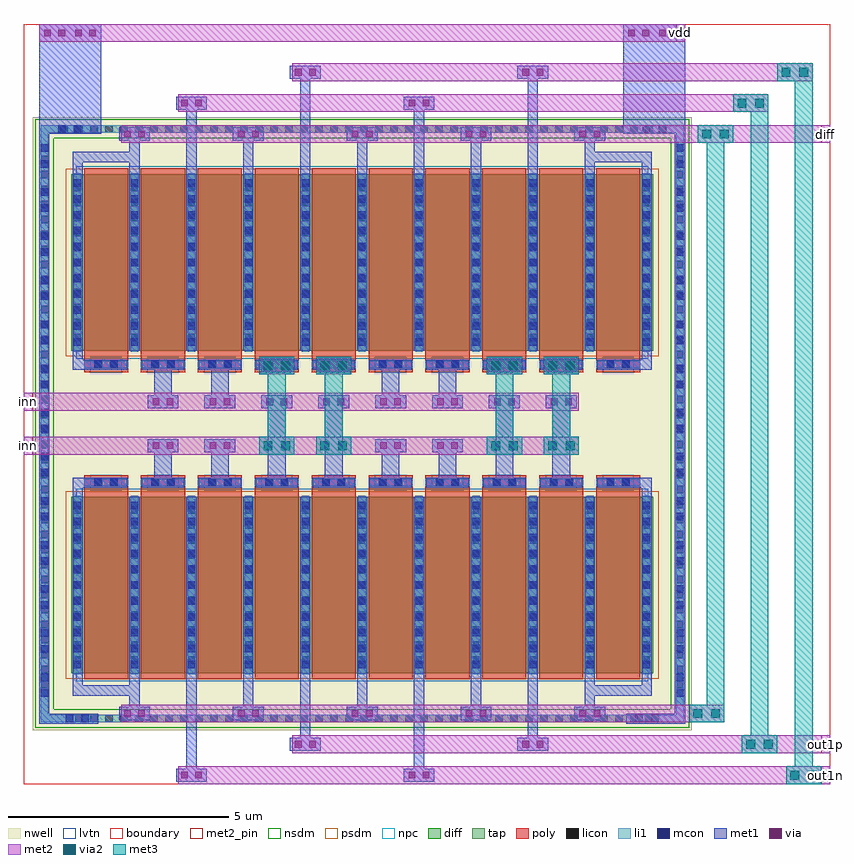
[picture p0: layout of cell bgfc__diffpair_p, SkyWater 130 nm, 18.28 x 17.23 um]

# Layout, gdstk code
from math import pi, radians
import gdstk
lib = gdstk.Library(unit=1e-6, precision=1e-09)
def R(c, l, rs):  # rectangles x0, y0, x1, y1
    for r in rs: c.add(gdstk.rectangle(r[:2], r[2:], *l))
def A(c, l, x, y, w, h, nx, ny, dx, dy):  # array of equal rectangles
    R(c, l, [(x+i*dx, y+j*dy, x+i*dx+w, y+j*dy+h) for i in range(nx) for j in range(ny)])
nwell = (64, 20)
diff = (65, 20)
tap = (65, 44)
poly = (66, 20)
licon = (66, 44)
li1 = (67, 20)
mcon = (67, 44)
met1 = (68, 20)
via = (68, 44)
met2_pin = (69, 16)
met2 = (69, 20)
via2 = (69, 44)
met3 = (70, 20)
nsdm = (93, 44)
psdm = (94, 20)
npc = (95, 20)
lvtn = (125, 44)
boundary = (235, 4)

via__li_m1 = lib.new_cell('via__LI_M1')
R(via__li_m1, li1, [(0.03,0.03,0.56,0.2)])
R(via__li_m1, mcon, [(0.03,0.03,0.2,0.2), (0.39,0.03,0.56,0.2)])
R(via__li_m1, met1, [(0,0,0.59,0.23)])

bgfcdpp__dum = lib.new_cell('bgfcdpp__DUM')
R(bgfcdpp__dum, nwell, [(-0.97,-2.49,0.97,2.32)])
R(bgfcdpp__dum, diff, [(-0.79,-2.18,0.79,1.82)])
R(bgfcdpp__dum, poly, [(-0.5,-2.31,0.5,2.305)])
A(bgfcdpp__dum, licon, -0.73, -1.965, 0.17, 0.17, 1, 11, 0, 0.34)
A(bgfcdpp__dum, licon, 0.56, -1.965, 0.17, 0.17, 1, 11, 0, 0.34)
R(bgfcdpp__dum, licon, [(-0.255,2.055,-0.085,2.225), (0.085,2.055,0.255,2.225)])
R(bgfcdpp__dum, li1, [(-0.73,-2.2,-0.56,1.84), (0.56,-2.2,0.73,1.84), (-0.5,2.055,0.5,2.225)])
A(bgfcdpp__dum, mcon, -0.73, -2.065, 0.17, 0.17, 1, 11, 0, 0.36)
A(bgfcdpp__dum, mcon, 0.56, -2.065, 0.17, 0.17, 1, 11, 0, 0.36)
R(bgfcdpp__dum, mcon, [(-0.265,2.055,-0.095,2.225), (0.095,2.055,0.265,2.225)])
R(bgfcdpp__dum, met1, [(-0.76,-2.18,-0.53,1.82), (0.53,-2.18,0.76,1.82), (-0.48,2.025,0.48,2.255)])
R(bgfcdpp__dum, psdm, [(-0.915,-2.305,0.915,1.945)])
R(bgfcdpp__dum, npc, [(-0.355,1.955,0.355,2.325)])
R(bgfcdpp__dum, lvtn, [(-0.68,-2.36,0.68,2)])

bgfcdpp__m2 = lib.new_cell('bgfcdpp__M2')
R(bgfcdpp__m2, nwell, [(-0.97,-2.49,0.97,2.32)])
R(bgfcdpp__m2, diff, [(-0.79,-2.18,0.79,1.82)])
R(bgfcdpp__m2, poly, [(-0.5,-2.31,0.5,2.305)])
A(bgfcdpp__m2, licon, -0.73, -1.965, 0.17, 0.17, 1, 11, 0, 0.34)
A(bgfcdpp__m2, licon, 0.56, -1.965, 0.17, 0.17, 1, 11, 0, 0.34)
R(bgfcdpp__m2, licon, [(-0.255,2.055,-0.085,2.225), (0.085,2.055,0.255,2.225)])
R(bgfcdpp__m2, li1, [(-0.73,-2.2,-0.56,1.84), (0.56,-2.2,0.73,1.84), (-0.5,2.055,0.5,2.225)])
A(bgfcdpp__m2, mcon, -0.73, -2.065, 0.17, 0.17, 1, 11, 0, 0.36)
A(bgfcdpp__m2, mcon, 0.56, -2.065, 0.17, 0.17, 1, 11, 0, 0.36)
R(bgfcdpp__m2, mcon, [(-0.265,2.055,-0.095,2.225), (0.095,2.055,0.265,2.225)])
R(bgfcdpp__m2, met1, [(-0.76,-2.18,-0.53,1.82), (0.53,-2.18,0.76,1.82), (-0.48,2.025,0.48,2.255)])
R(bgfcdpp__m2, psdm, [(-0.915,-2.305,0.915,1.945)])
R(bgfcdpp__m2, npc, [(-0.355,1.955,0.355,2.325)])
R(bgfcdpp__m2, lvtn, [(-0.68,-2.36,0.68,2)])

via__m1_m2 = lib.new_cell('via__M1_M2')
R(via__m1_m2, met1, [(0,0.05,0.7,0.35)])
R(via__m1_m2, via, [(0.115,0.125,0.265,0.275), (0.435,0.125,0.585,0.275)])
R(via__m1_m2, met2, [(0.05,0,0.65,0.4)])

via__m2_m3 = lib.new_cell('via__M2_M3')
R(via__m2_m3, met2, [(0,0,0.8,0.4)])
R(via__m2_m3, via2, [(0.1,0.1,0.3,0.3), (0.5,0.1,0.7,0.3)])
R(via__m2_m3, met3, [(0,0,0.8,0.4)])

bgfcdpp__m3 = lib.new_cell('bgfcdpp__M3')
R(bgfcdpp__m3, nwell, [(-0.97,-2.49,0.97,2.32)])
R(bgfcdpp__m3, diff, [(-0.79,-2.18,0.79,1.82)])
R(bgfcdpp__m3, poly, [(-0.5,-2.31,0.5,2.305)])
A(bgfcdpp__m3, licon, -0.73, -1.965, 0.17, 0.17, 1, 11, 0, 0.34)
A(bgfcdpp__m3, licon, 0.56, -1.965, 0.17, 0.17, 1, 11, 0, 0.34)
R(bgfcdpp__m3, licon, [(-0.255,2.055,-0.085,2.225), (0.085,2.055,0.255,2.225)])
R(bgfcdpp__m3, li1, [(-0.73,-2.2,-0.56,1.84), (0.56,-2.2,0.73,1.84), (-0.5,2.055,0.5,2.225)])
A(bgfcdpp__m3, mcon, -0.73, -2.065, 0.17, 0.17, 1, 11, 0, 0.36)
A(bgfcdpp__m3, mcon, 0.56, -2.065, 0.17, 0.17, 1, 11, 0, 0.36)
R(bgfcdpp__m3, mcon, [(-0.265,2.055,-0.095,2.225), (0.095,2.055,0.265,2.225)])
R(bgfcdpp__m3, met1, [(-0.76,-2.18,-0.53,1.82), (0.53,-2.18,0.76,1.82), (-0.48,2.025,0.48,2.255)])
R(bgfcdpp__m3, psdm, [(-0.915,-2.305,0.915,1.945)])
R(bgfcdpp__m3, npc, [(-0.355,1.955,0.355,2.325)])
R(bgfcdpp__m3, lvtn, [(-0.68,-2.36,0.68,2)])

bgfcdpp__guardring_p = lib.new_cell('bgfcdpp__Guardring_P')
R(bgfcdpp__guardring_p, nwell, [(43.25,21.39,58.19,21.92), (43.25,21.92,43.78,34.765), (57.66,21.92,58.19,34.765), (43.25,34.765,58.19,35.295)])
R(bgfcdpp__guardring_p, tap, [(43.43,21.57,58.01,21.74), (43.43,21.74,43.6,34.945), (57.84,21.74,58.01,34.945), (43.43,34.945,58.01,35.115)])
A(bgfcdpp__guardring_p, licon, 44.22, 21.57, 0.17, 0.17, 39, 1, 0.34, 0)
A(bgfcdpp__guardring_p, licon, 43.43, 22.345, 0.17, 0.17, 1, 36, 0, 0.34)
A(bgfcdpp__guardring_p, licon, 57.84, 22.345, 0.17, 0.17, 1, 36, 0, 0.34)
A(bgfcdpp__guardring_p, licon, 43.88, 34.945, 0.17, 0.17, 40, 1, 0.34, 0)
R(bgfcdpp__guardring_p, li1, [(43.43,21.57,58.01,21.74), (43.43,21.74,43.6,34.945), (57.84,21.74,58.01,34.945), (43.43,34.945,58.01,35.115)])
R(bgfcdpp__guardring_p, nsdm, [(43.305,21.445,58.135,21.865), (43.305,21.865,43.725,34.82), (57.715,21.865,58.135,34.82), (43.305,34.82,58.135,35.24)])

bgfc__diffpair_p = lib.new_cell('bgfc__diffpair_p')
R(bgfc__diffpair_p, nwell, [(0.2,1.215,15.14,15.12)])
A(bgfc__diffpair_p, met1, 4.975, 1.75, 0.23, 0.76, 3, 2, 2.58, 12.075)
R(bgfc__diffpair_p, met1, [(3.685,0.35,3.915,2.51), (8.845,0.35,9.075,2.51), (6.265,1.05,6.495,2.51), (11.425,1.05,11.655,2.51), (0.35,1.365,1.685,1.595), (13.655,1.365,14.99,1.595), (0.35,1.595,0.58,14.74), (14.76,1.595,14.99,14.74), (2.395,1.75,2.625,2.005), (12.715,1.75,12.945,2.005), (1.105,2.005,2.625,2.235), (12.715,2.005,14.235,2.235), (1.105,2.235,1.335,2.51), (2.395,2.235,2.625,2.51), (12.715,2.235,12.945,2.51), (14.005,2.235,14.235,2.51), (1.105,6.44,1.335,6.715), (14.005,6.44,14.235,6.715), (1.105,6.715,1.5,6.945), (13.84,6.715,14.235,6.945), (2.955,6.945,3.355,7.82), (4.245,6.945,4.645,7.82), (5.535,6.945,5.935,8.815), (6.825,6.945,7.225,8.815), (8.115,6.945,8.515,7.82), (9.405,6.945,9.805,7.82), (10.695,6.945,11.095,8.815), (11.985,6.945,12.385,8.815), (2.955,8.515,3.355,9.62), (4.245,8.515,4.645,9.62), (8.115,8.515,8.515,9.62), (9.405,8.515,9.805,9.62), (1.105,9.39,1.5,9.62), (13.84,9.39,14.235,9.62), (1.105,9.62,1.335,9.895), (14.005,9.62,14.235,9.895), (1.105,13.825,1.335,14.1), (2.395,13.825,2.625,14.1), (3.685,13.825,3.915,15.285), (6.265,13.825,6.495,15.985), (8.845,13.825,9.075,15.285), (11.425,13.825,11.655,15.985), (12.715,13.825,12.945,14.1), (14.005,13.825,14.235,14.1), (1.105,14.1,2.625,14.33), (12.715,14.1,14.235,14.33), (2.395,14.33,2.625,14.585), (12.715,14.33,12.945,14.585), (0.35,14.74,1.75,17.23), (13.59,14.74,14.99,17.23)])
R(bgfc__diffpair_p, met2_pin, [(18.08,0,18.28,0.4), (18.08,0.7,18.28,1.1), (0,7.47,0.2,7.87), (0,8.465,0.2,8.865), (18.08,14.535,18.28,14.935), (14.79,16.83,14.99,17.23)])
R(bgfc__diffpair_p, met2, [(3.5,0,18.28,0.4), (6.08,0.7,18.28,1.1), (2.21,1.4,15.88,1.8), (0,7.47,12.585,7.87), (0,8.465,12.585,8.865), (2.21,14.535,18.28,14.935), (3.5,15.235,16.88,15.635), (6.08,15.935,17.88,16.335), (0.35,16.83,14.99,17.23)])
R(bgfc__diffpair_p, met3, [(17.48,0,17.88,16.335), (16.48,0.7,16.88,15.635), (15.48,1.4,15.88,14.935), (5.535,7.47,5.935,9.44), (6.825,7.47,7.225,9.44), (10.695,7.47,11.095,9.44), (11.985,7.47,12.385,9.44)])
R(bgfc__diffpair_p, boundary, [(0,0,18.28,17.23)])
bgfc__diffpair_p.add(gdstk.Reference(via__li_m1, (0.35,8.535), rotation=3*pi/2))
bgfc__diffpair_p.add(gdstk.Reference(via__li_m1, (0.35,7.535), rotation=3*pi/2))
bgfc__diffpair_p.add(gdstk.Reference(via__li_m1, (0.35,6.535), rotation=3*pi/2))
bgfc__diffpair_p.add(gdstk.Reference(via__li_m1, (0.35,5.535), rotation=3*pi/2))
bgfc__diffpair_p.add(gdstk.Reference(via__li_m1, (0.35,4.535), rotation=3*pi/2))
bgfc__diffpair_p.add(gdstk.Reference(via__li_m1, (0.35,3.535), rotation=3*pi/2))
bgfc__diffpair_p.add(gdstk.Reference(via__li_m1, (0.35,2.535), rotation=3*pi/2))
bgfc__diffpair_p.add(gdstk.Reference(via__li_m1, (1.505,1.595), rotation=pi))
bgfc__diffpair_p.add(gdstk.Reference(bgfcdpp__dum, (1.865,4.69)))
bgfc__diffpair_p.add(gdstk.Reference(bgfcdpp__m2, (4.445,4.69)))
bgfc__diffpair_p.add(gdstk.Reference(via__m1_m2, (2.86,1.8), rotation=pi))
bgfc__diffpair_p.add(gdstk.Reference(bgfcdpp__m2, (3.155,4.69)))
bgfc__diffpair_p.add(gdstk.Reference(via__m1_m2, (4.15,0.4), rotation=pi))
bgfc__diffpair_p.add(gdstk.Reference(via__m1_m2, (2.805,7.47)))
bgfc__diffpair_p.add(gdstk.Reference(via__m1_m2, (2.805,8.465)))
bgfc__diffpair_p.add(gdstk.Reference(via__m1_m2, (5.44,1.8), rotation=pi))
bgfc__diffpair_p.add(gdstk.Reference(via__m2_m3, (5.335,7.47)))
bgfc__diffpair_p.add(gdstk.Reference(bgfcdpp__m3, (5.735,4.69)))
bgfc__diffpair_p.add(gdstk.Reference(via__m1_m2, (4.095,7.47)))
bgfc__diffpair_p.add(gdstk.Reference(via__m1_m2, (4.095,8.465)))
bgfc__diffpair_p.add(gdstk.Reference(via__m1_m2, (5.385,8.465)))
bgfc__diffpair_p.add(gdstk.Reference(via__m2_m3, (6.625,7.47)))
bgfc__diffpair_p.add(gdstk.Reference(via__m1_m2, (6.73,1.1), rotation=pi))
bgfc__diffpair_p.add(gdstk.Reference(bgfcdpp__m3, (7.025,4.69)))
bgfc__diffpair_p.add(gdstk.Reference(via__m1_m2, (8.02,1.8), rotation=pi))
bgfc__diffpair_p.add(gdstk.Reference(via__m1_m2, (6.675,8.465)))
bgfc__diffpair_p.add(gdstk.Reference(bgfcdpp__m2, (8.315,4.69)))
bgfc__diffpair_p.add(gdstk.Reference(via__m1_m2, (9.255,7.47)))
bgfc__diffpair_p.add(gdstk.Reference(via__m1_m2, (7.965,7.47)))
bgfc__diffpair_p.add(gdstk.Reference(via__m1_m2, (7.965,8.465)))
bgfc__diffpair_p.add(gdstk.Reference(via__m1_m2, (9.255,8.465)))
bgfc__diffpair_p.add(gdstk.Reference(via__m1_m2, (9.31,0.4), rotation=pi))
bgfc__diffpair_p.add(gdstk.Reference(bgfcdpp__m2, (9.605,4.69)))
bgfc__diffpair_p.add(gdstk.Reference(via__m1_m2, (11.89,1.1), rotation=pi))
bgfc__diffpair_p.add(gdstk.Reference(bgfcdpp__m3, (12.185,4.69)))
bgfc__diffpair_p.add(gdstk.Reference(bgfcdpp__m3, (10.895,4.69)))
bgfc__diffpair_p.add(gdstk.Reference(via__m1_m2, (10.6,1.8), rotation=pi))
bgfc__diffpair_p.add(gdstk.Reference(via__m2_m3, (10.495,7.47)))
bgfc__diffpair_p.add(gdstk.Reference(via__m1_m2, (10.545,8.465)))
bgfc__diffpair_p.add(gdstk.Reference(bgfcdpp__dum, (13.475,4.69)))
bgfc__diffpair_p.add(gdstk.Reference(via__m1_m2, (13.18,1.8), rotation=pi))
bgfc__diffpair_p.add(gdstk.Reference(via__m2_m3, (11.785,7.47)))
bgfc__diffpair_p.add(gdstk.Reference(via__m1_m2, (11.835,8.465)))
bgfc__diffpair_p.add(gdstk.Reference(via__li_m1, (14.99,8.535), rotation=3*pi/2, x_reflection=True))
bgfc__diffpair_p.add(gdstk.Reference(via__li_m1, (13.835,1.595), x_reflection=True))
bgfc__diffpair_p.add(gdstk.Reference(via__li_m1, (14.99,7.535), rotation=3*pi/2, x_reflection=True))
bgfc__diffpair_p.add(gdstk.Reference(via__li_m1, (14.99,6.535), rotation=3*pi/2, x_reflection=True))
bgfc__diffpair_p.add(gdstk.Reference(via__li_m1, (14.99,5.535), rotation=3*pi/2, x_reflection=True))
bgfc__diffpair_p.add(gdstk.Reference(via__li_m1, (14.99,4.535), rotation=3*pi/2, x_reflection=True))
bgfc__diffpair_p.add(gdstk.Reference(via__li_m1, (14.99,3.535), rotation=3*pi/2, x_reflection=True))
bgfc__diffpair_p.add(gdstk.Reference(via__li_m1, (14.99,2.535), rotation=3*pi/2, x_reflection=True))
bgfc__diffpair_p.add(gdstk.Reference(via__m2_m3, (15.08,1.4)))
bgfc__diffpair_p.add(gdstk.Reference(via__m2_m3, (17.28,0)))
bgfc__diffpair_p.add(gdstk.Reference(via__m2_m3, (16.28,0.7)))
bgfc__diffpair_p.add(gdstk.Reference(via__li_m1, (0.35,9.535), rotation=3*pi/2))
bgfc__diffpair_p.add(gdstk.Reference(via__li_m1, (0.35,10.535), rotation=3*pi/2))
bgfc__diffpair_p.add(gdstk.Reference(via__li_m1, (0.35,11.535), rotation=3*pi/2))
bgfc__diffpair_p.add(gdstk.Reference(via__li_m1, (0.35,12.535), rotation=3*pi/2))
bgfc__diffpair_p.add(gdstk.Reference(via__li_m1, (0.35,13.535), rotation=3*pi/2))
bgfc__diffpair_p.add(gdstk.Reference(via__m1_m2, (1.05,16.83)))
bgfc__diffpair_p.add(gdstk.Reference(via__m1_m2, (0.35,16.83)))
bgfc__diffpair_p.add(gdstk.Reference(via__li_m1, (0.745,14.74)))
bgfc__diffpair_p.add(gdstk.Reference(via__li_m1, (0.35,14.535), rotation=3*pi/2))
bgfc__diffpair_p.add(gdstk.Reference(bgfcdpp__dum, (1.865,11.645), x_reflection=True))
bgfc__diffpair_p.add(gdstk.Reference(bgfcdpp__m3, (4.445,11.645), x_reflection=True))
bgfc__diffpair_p.add(gdstk.Reference(via__m1_m2, (2.16,14.535)))
bgfc__diffpair_p.add(gdstk.Reference(bgfcdpp__m3, (3.155,11.645), x_reflection=True))
bgfc__diffpair_p.add(gdstk.Reference(via__m1_m2, (3.45,15.235)))
bgfc__diffpair_p.add(gdstk.Reference(via__m1_m2, (4.74,14.535)))
bgfc__diffpair_p.add(gdstk.Reference(via__m1_m2, (5.385,9.685), x_reflection=True))
bgfc__diffpair_p.add(gdstk.Reference(via__m2_m3, (5.335,9.285)))
bgfc__diffpair_p.add(gdstk.Reference(bgfcdpp__m2, (5.735,11.645), x_reflection=True))
bgfc__diffpair_p.add(gdstk.Reference(via__m2_m3, (6.625,9.285)))
bgfc__diffpair_p.add(gdstk.Reference(via__m1_m2, (6.03,15.935)))
bgfc__diffpair_p.add(gdstk.Reference(bgfcdpp__m2, (7.025,11.645), x_reflection=True))
bgfc__diffpair_p.add(gdstk.Reference(via__m1_m2, (7.32,14.535)))
bgfc__diffpair_p.add(gdstk.Reference(via__m1_m2, (6.675,9.685), x_reflection=True))
bgfc__diffpair_p.add(gdstk.Reference(bgfcdpp__m3, (8.315,11.645), x_reflection=True))
bgfc__diffpair_p.add(gdstk.Reference(bgfcdpp__m3, (9.605,11.645), x_reflection=True))
bgfc__diffpair_p.add(gdstk.Reference(via__m1_m2, (8.61,15.235)))
bgfc__diffpair_p.add(gdstk.Reference(bgfcdpp__m2, (12.185,11.645), x_reflection=True))
bgfc__diffpair_p.add(gdstk.Reference(via__m1_m2, (9.9,14.535)))
bgfc__diffpair_p.add(gdstk.Reference(via__m1_m2, (10.545,9.685), x_reflection=True))
bgfc__diffpair_p.add(gdstk.Reference(via__m2_m3, (10.495,9.285)))
bgfc__diffpair_p.add(gdstk.Reference(bgfcdpp__m2, (10.895,11.645), x_reflection=True))
bgfc__diffpair_p.add(gdstk.Reference(via__m1_m2, (11.19,15.935)))
bgfc__diffpair_p.add(gdstk.Reference(via__m1_m2, (11.835,9.685), x_reflection=True))
bgfc__diffpair_p.add(gdstk.Reference(via__m2_m3, (11.785,9.285)))
bgfc__diffpair_p.add(gdstk.Reference(via__m1_m2, (12.48,14.535)))
bgfc__diffpair_p.add(gdstk.Reference(bgfcdpp__dum, (13.475,11.645), x_reflection=True))
bgfc__diffpair_p.add(gdstk.Reference(via__li_m1, (14.99,9.535), rotation=3*pi/2, x_reflection=True))
bgfc__diffpair_p.add(gdstk.Reference(via__li_m1, (14.99,10.535), rotation=3*pi/2, x_reflection=True))
bgfc__diffpair_p.add(gdstk.Reference(via__li_m1, (14.99,11.535), rotation=3*pi/2, x_reflection=True))
bgfc__diffpair_p.add(gdstk.Reference(via__li_m1, (14.99,12.535), rotation=3*pi/2, x_reflection=True))
bgfc__diffpair_p.add(gdstk.Reference(via__li_m1, (14.99,13.535), rotation=3*pi/2, x_reflection=True))
bgfc__diffpair_p.add(gdstk.Reference(via__m2_m3, (15.28,14.535)))
bgfc__diffpair_p.add(gdstk.Reference(via__li_m1, (14.99,14.535), rotation=3*pi/2, x_reflection=True))
bgfc__diffpair_p.add(gdstk.Reference(via__li_m1, (14.595,14.74), rotation=pi, x_reflection=True))
bgfc__diffpair_p.add(gdstk.Reference(via__m1_m2, (13.59,16.83)))
bgfc__diffpair_p.add(gdstk.Reference(via__m1_m2, (14.29,16.83)))
bgfc__diffpair_p.add(gdstk.Reference(via__m2_m3, (17.08,15.935)))
bgfc__diffpair_p.add(gdstk.Reference(via__m2_m3, (16.08,15.235)))
bgfc__diffpair_p.add(gdstk.Reference(bgfcdpp__guardring_p, (-43.05,-20.175)))
bgfc__diffpair_p.add(gdstk.Label('inn', (0.1,8.665), layer=69, texttype=16))
bgfc__diffpair_p.add(gdstk.Label('inn', (0.1,7.67), layer=69, texttype=16))
bgfc__diffpair_p.add(gdstk.Label('diff', (18.18,14.735), layer=69, texttype=16))
bgfc__diffpair_p.add(gdstk.Label('out1p', (18.18,0.9), layer=69, texttype=16))
bgfc__diffpair_p.add(gdstk.Label('out1n', (18.18,0.2), layer=69, texttype=16))
bgfc__diffpair_p.add(gdstk.Label('vdd', (14.89,17.03), layer=69, texttype=16))

lib.write_gds('bgfc__diffpair_p.gds')
